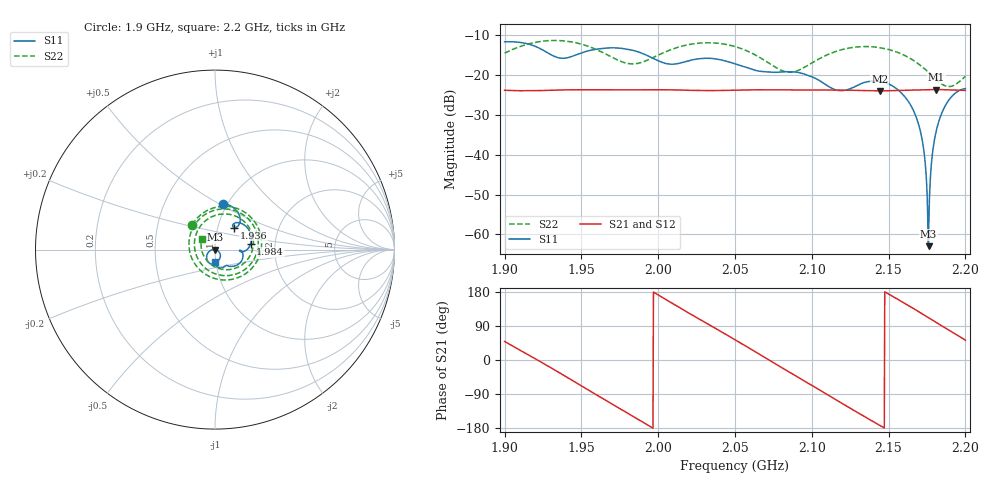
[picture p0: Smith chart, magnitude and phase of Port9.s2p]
# Hz S RI R 50
! CMT, CMT808U, 21440046, 21.4.3/4
! Date: 3/28/2026 5:01:53 PM
! Data: Format (Calibration Info)
! Freq	S11:Re/Im(F2)	S41:Re/Im(F2)	S14:Re/Im(F2)	S44:Re/Im(F2)
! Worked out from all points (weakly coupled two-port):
!   1001 points, 1.9 GHz to 2.2 GHz, reference 50 ohm
!   highest |S21| = -23.69 dB at 2.181 GHz (marker M1); lowest = -24.0 dB at 2.144 GHz (marker M2)
!   lowest |S11| = -62.9 dB at 2.176 GHz (marker M3), VSWR 1.00, Z = 50 - j0.0588 ohm
!   |S11| at or under -10 dB: start of sweep to end of sweep
!   |S22| runs from -22.9 to -11.4 dB; largest |S21 - S12| = 0.00044
!   S11 on the Smith chart (normalised r, x): 1.9 GHz: 0.95, +0.52; 1.936 GHz: 1.20, +0.30; 1.984 GHz: 1.49, +0.10; 2.2 GHz: 0.99, -0.13
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1.9e9  0.0421 0.2562  0.0421 0.0483  0.0418 0.0484  -0.127 0.1382
1.9177e9  0.1341 0.1951  0.0626 0.0093  0.0624 0.0096  0.0678 0.2409
1.9357e9  0.1069 0.123  0.0538 -0.0359  0.0539 -0.0355  0.2446 0.1125
1.9501e9  0.1157 0.1496  0.0239 -0.0606  0.0241 -0.0604  0.2337 -0.0649
1.9672e9  0.1817 0.1197  -0.0219 -0.0612  -0.0216 -0.0613  0.0515 -0.1695
1.9843e9  0.1987 0.0326  -0.0564 -0.032  -0.0562 -0.0322  -0.1255 -0.0561
2.0002e9  0.1493 -0.0122  -0.0644 0.00974  -0.0643 0.00942  -0.1148 0.1357
2.0215e9  0.1525 -0.0151  -0.0321 0.0554  -0.0323 0.0551  0.1082 0.2175
2.05e9  0.1019 -0.0927  0.0382 0.0517  0.0379 0.0518  0.2221 -0.0445
2.0833e9  0.0512 -0.0969  0.0579 -0.0295  0.0579 -0.0292  -0.0835 -0.0703
2.1001e9  0.00987 -0.0941  0.025 -0.0596  0.0253 -0.0594  -0.0992 0.1007
2.1181e9  0.00465 -0.0633  -0.0227 -0.0604  -0.0224 -0.0605  0.0449 0.1987
2.1442e9  -0.0251 -0.0791  -0.0626 -0.00821  -0.0625 -0.00859  0.2137 0.0503
2.1502e9  -0.0402 -0.0653  -0.0628 0.00704  -0.0628 0.0067  0.2075 -0.00455
2.1685e9  -0.027 -0.00603  -0.0417 0.0495  -0.042 0.0493  0.0891 -0.11
2.1724e9  -0.0133 -0.000694  -0.0331 0.056  -0.0333 0.0558  0.054 -0.1117
2.1748e9  -0.00419 -5.6e-05  -0.0271 0.0593  -0.0274 0.0591  0.0326 -0.1084
2.176e9  0.000403 -0.000587  -0.0241 0.0607  -0.0243 0.0605  0.0222 -0.1056
2.1787e9  0.0102 -0.00374  -0.0168 0.0632  -0.0171 0.063  -0.000193 -0.0965
2.1811e9  0.0181 -0.00888  -0.0101 0.0646  -0.0104 0.0645  -0.0186 -0.0854
2.1889e9  0.0301 -0.0366  0.0119 0.064  0.0116 0.0639  -0.0631 -0.0334
2.2e9  0.00112 -0.0673  0.039 0.0506  0.0387 0.0508  -0.0742 0.0608
